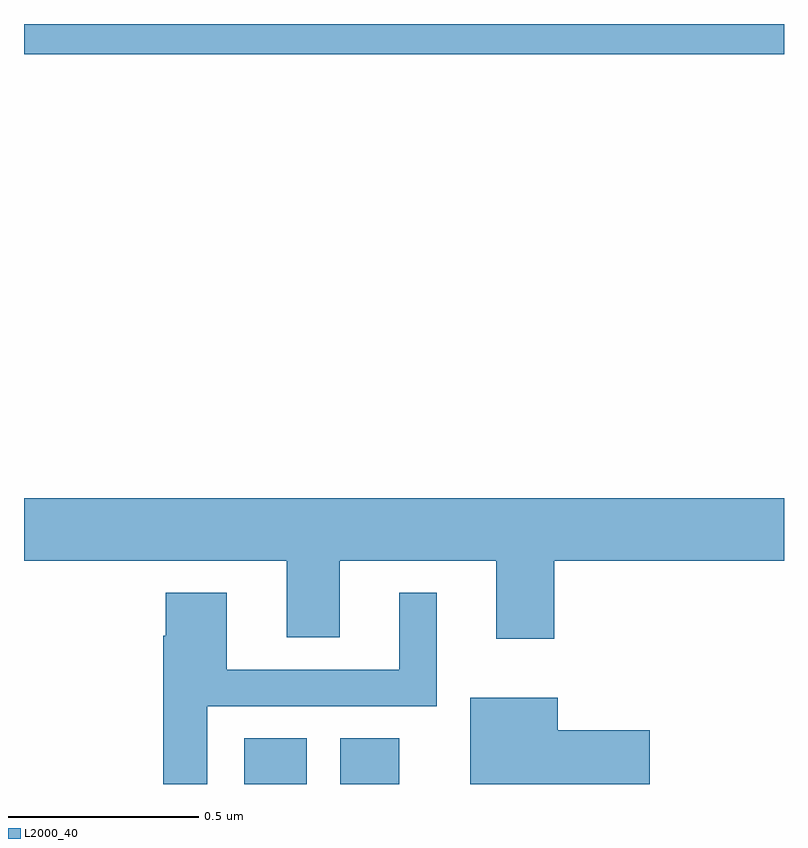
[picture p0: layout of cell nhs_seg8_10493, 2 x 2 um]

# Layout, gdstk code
import gdstk
lib = gdstk.Library(unit=1e-6, precision=1e-09)
def R(c, l, rs):  # rectangles x0, y0, x1, y1
    for r in rs: c.add(gdstk.rectangle(r[:2], r[2:], *l))
def P(c, l, *ps):  # polygons
    for p in ps: c.add(gdstk.Polygon(p, *l))
L2000_40 = (2000, 40)

nhs_seg8_10493 = lib.new_cell('nhs_seg8_10493')
R(nhs_seg8_10493, L2000_40, [(250.58,1127.9,250.744,1128.02), (250.832,1127.9,250.987,1128.02), (250,1129.82,252,1129.9)])
P(nhs_seg8_10493, L2000_40, [(251.396,1128.488),(252,1128.488),(252,1128.652),(250,1128.652),(250,1128.488),(250.691,1128.488),(250.691,1128.286),(250.831,1128.286),(250.831,1128.488),(251.243,1128.488),(251.243,1128.282),(251.396,1128.282)],
  [(250.482,1128.105),(251.086,1128.105),(251.086,1128.403),(250.988,1128.403),(250.988,1128.201),(250.534,1128.201),(250.534,1128.403),(250.373,1128.403),(250.373,1128.29),(250.366,1128.29),(250.366,1127.9),(250.482,1127.9)],
  [(251.647,1128.042),(251.404,1128.042),(251.404,1128.127),(251.174,1128.127),(251.174,1127.9),(251.647,1127.9)])

lib.write_gds('nhs_seg8_10493.gds')
